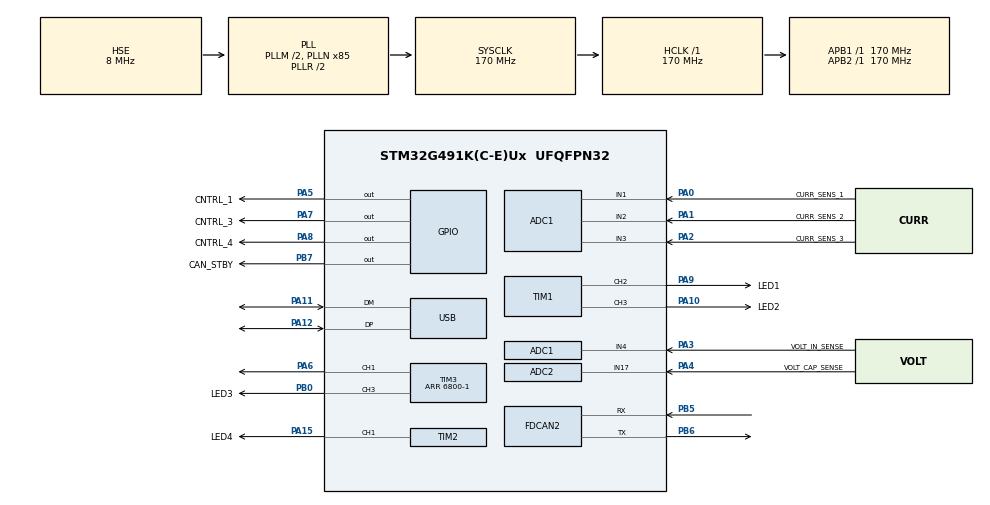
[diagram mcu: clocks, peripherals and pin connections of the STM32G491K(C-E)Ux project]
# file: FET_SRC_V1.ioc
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ADC1.Channel-0\#ChannelRegularConversion=ADC_CHANNEL_1
ADC1.Channel-1\#ChannelRegularConversion=ADC_CHANNEL_2
ADC1.Channel-2\#ChannelRegularConversion=ADC_CHANNEL_3
ADC1.Channel-3\#ChannelRegularConversion=ADC_CHANNEL_4
ADC1.ContinuousConvMode=ENABLE
ADC1.DMAContinuousRequests=ENABLE
ADC1.EOCSelection=ADC_EOC_SEQ_CONV
ADC1.Mode=ADC_MODE_INDEPENDENT
ADC1.NbrOfConversion=4
ADC1.NbrOfConversionFlag=1
ADC1.OffsetNumber-0\#ChannelRegularConversion=ADC_OFFSET_NONE
ADC1.OffsetNumber-1\#ChannelRegularConversion=ADC_OFFSET_NONE
ADC1.OffsetNumber-2\#ChannelRegularConversion=ADC_OFFSET_NONE
ADC1.OffsetNumber-3\#ChannelRegularConversion=ADC_OFFSET_NONE
ADC1.OversamplingMode=DISABLE
ADC1.Rank-0\#ChannelRegularConversion=1
ADC1.Rank-1\#ChannelRegularConversion=2
ADC1.Rank-2\#ChannelRegularConversion=3
ADC1.Rank-3\#ChannelRegularConversion=4
ADC1.SamplingTime-0\#ChannelRegularConversion=ADC_SAMPLETIME_24CYCLES_5
ADC1.SamplingTime-1\#ChannelRegularConversion=ADC_SAMPLETIME_24CYCLES_5
ADC1.SamplingTime-2\#ChannelRegularConversion=ADC_SAMPLETIME_24CYCLES_5
ADC1.SamplingTime-3\#ChannelRegularConversion=ADC_SAMPLETIME_24CYCLES_5
ADC1.master=1
ADC2.Channel-0\#ChannelRegularConversion=ADC_CHANNEL_17
ADC2.ClockPrescaler=ADC_CLOCK_SYNC_PCLK_DIV4
ADC2.ContinuousConvMode=ENABLE
ADC2.DMAContinuousRequests=ENABLE
ADC2.NbrOfConversionFlag=1
ADC2.OffsetNumber-0\#ChannelRegularConversion=ADC_OFFSET_NONE
ADC2.Rank-0\#ChannelRegularConversion=1
ADC2.SamplingTime-0\#ChannelRegularConversion=ADC_SAMPLETIME_24CYCLES_5
Dma.ADC1.0.Direction=DMA_PERIPH_TO_MEMORY
Dma.ADC1.0.EventEnable=DISABLE
Dma.ADC1.0.Instance=DMA1_Channel1
Dma.ADC1.0.MemDataAlignment=DMA_MDATAALIGN_WORD
Dma.ADC1.0.MemInc=DMA_MINC_ENABLE
Dma.ADC1.0.Mode=DMA_CIRCULAR
Dma.ADC1.0.PeriphDataAlignment=DMA_PDATAALIGN_HALFWORD
Dma.ADC1.0.PeriphInc=DMA_PINC_DISABLE
Dma.ADC1.0.Polarity=HAL_DMAMUX_REQ_GEN_RISING
Dma.ADC1.0.Priority=DMA_PRIORITY_LOW
Dma.ADC1.0.RequestNumber=1
Dma.ADC1.0.SignalID=NONE
Dma.ADC1.0.SyncEnable=DISABLE
Dma.ADC1.0.SyncPolarity=HAL_DMAMUX_SYNC_NO_EVENT
Dma.ADC1.0.SyncRequestNumber=1
Dma.ADC1.0.SyncSignalID=NONE
Dma.ADC2.1.Direction=DMA_PERIPH_TO_MEMORY
Dma.ADC2.1.EventEnable=DISABLE
Dma.ADC2.1.Instance=DMA1_Channel2
Dma.ADC2.1.MemDataAlignment=DMA_MDATAALIGN_WORD
Dma.ADC2.1.MemInc=DMA_MINC_ENABLE
Dma.ADC2.1.Mode=DMA_CIRCULAR
Dma.ADC2.1.PeriphDataAlignment=DMA_PDATAALIGN_HALFWORD
Dma.ADC2.1.PeriphInc=DMA_PINC_DISABLE
Dma.ADC2.1.Polarity=HAL_DMAMUX_REQ_GEN_RISING
Dma.ADC2.1.Priority=DMA_PRIORITY_LOW
Dma.ADC2.1.RequestNumber=1
Dma.ADC2.1.SignalID=NONE
Dma.ADC2.1.SyncEnable=DISABLE
Dma.ADC2.1.SyncPolarity=HAL_DMAMUX_SYNC_NO_EVENT
Dma.ADC2.1.SyncRequestNumber=1
Dma.ADC2.1.SyncSignalID=NONE
Dma.Request0=ADC1
Dma.Request1=ADC2
FDCAN2.AutoRetransmission=DISABLE
FDCAN2.CalculateBaudRateNominal=1000000
FDCAN2.CalculateTimeBitNominal=1000
FDCAN2.CalculateTimeQuantumNominal=125.0
FDCAN2.DataPrescaler=1
FDCAN2.DataSyncJumpWidth=1
FDCAN2.DataTimeSeg1=1
FDCAN2.DataTimeSeg2=2
FDCAN2.FrameFormat=FDCAN_FRAME_FD_BRS
FDCAN2.Mode=FDCAN_MODE_NORMAL
FDCAN2.NominalPrescaler=1
FDCAN2.NominalSyncJumpWidth=2
FDCAN2.NominalTimeSeg1=5
FDCAN2.NominalTimeSeg2=2
FDCAN2.StdFiltersNbr=1
FREERTOS.BinarySemaphores01=canSemaphore,Static,canSemaphoreControlBlock,Depleted
FREERTOS.Queues01=canQueRxHeader,512,uint32_t,0,Static,canReceiveQueBuffer,canReceiveQueControlBlock;canQueRxData,512,uint8_t,0,Static,canQueRxDataBuffer,canQueRxDataControlBlock;usbQueReceive,512,char,0,Static,usbQueReceiveBuffer,usbQueReceiveControlBlock;usbQueSend,512,char,0,Static,usbQueSendBuffer,usbQueSendControlBlock
FREERTOS.Tasks01=defaultTask,24,512,StartDefaultTask,Default,NULL,Static,defaultTaskBuffer,defaultTaskControlBlock;canReceiveMsg,25,512,StartCanReceive,Default,NULL,Static,CanReceiveMsgBuffer,CanReceiveMsgControlBlock;canSendMsg,26,512,StartCanSend,Default,NULL,Static,CanSendMsgBuffer,CanSendMsgControlBlock;adcConvTask,27,512,StartAdcConv,Default,NULL,Static,adcConvTaskBuffer,adcConvTaskControlBlock;blinkyLed,28,512,StartBlinky,Default,NULL,Static,blinkyLedBuffer,blinkyLedControlBlock;usbReceive,33,512,StartUsbReceive,As external,NULL,Static,usbReceiveBuffer,usbReceiveControlBlock
FREERTOS.configENABLE_FPU=1
FREERTOS.configUSE_NEWLIB_REENTRANT=1
FREERTOS.copyHeapFile=1
Mcu.Family=STM32G4
Mcu.Name=STM32G491K(C-E)Ux
Mcu.Package=UFQFPN32
NVIC.FDCAN2_IT0_IRQn=true\:5\:0\:false\:false\:true\:true\:true\:true\:true
NVIC.FDCAN2_IT1_IRQn=true\:5\:0\:false\:false\:true\:true\:true\:true\:true
NVIC.PriorityGroup=NVIC_PRIORITYGROUP_4
NVIC.TIM20_UP_IRQn=true\:15\:0\:false\:false\:true\:false\:false\:true\:true
NVIC.TimeBase=TIM20_UP_IRQn
NVIC.TimeBaseIP=TIM20
NVIC.USB_HP_IRQn=true\:5\:0\:false\:false\:true\:true\:true\:true\:true
NVIC.USB_LP_IRQn=true\:5\:0\:false\:false\:true\:true\:true\:true\:true
PA0.GPIO_Label=CURR_SENS_1
PA0.Mode=IN1-Single-Ended
PA0.Signal=ADC1_IN1
PA1.GPIO_Label=CURR_SENS_2
PA1.Mode=IN2-Single-Ended
PA1.Signal=ADC1_IN2
PA10.GPIO_Label=LED2
PA10.Signal=S_TIM1_CH3
PA11.Mode=Device
PA11.Signal=USB_DM
PA12.Mode=Device
PA12.Signal=USB_DP
PA13.Mode=Serial_Wire
PA13.Signal=SYS_JTMS-SWDIO
PA14.Mode=Serial_Wire
PA14.Signal=SYS_JTCK-SWCLK
PA15.GPIO_Label=LED4
PA15.Signal=S_TIM2_CH1
PA2.GPIO_Label=CURR_SENS_3
PA2.Mode=IN3-Single-Ended
PA2.Signal=ADC1_IN3
PA3.GPIO_Label=VOLT_IN_SENSE
PA3.Mode=IN4-Single-Ended
PA3.Signal=ADC1_IN4
PA4.GPIO_Label=VOLT_CAP_SENSE
PA4.Mode=IN17-Single-Ended
PA4.Signal=ADC2_IN17
PA5.GPIO_Label=CNTRL_1
PA5.Signal=GPIO_Output
PA6.Signal=S_TIM3_CH1
PA7.GPIO_Label=CNTRL_3
PA7.Signal=GPIO_Output
PA8.GPIO_Label=CNTRL_4
PA8.Signal=GPIO_Output
PA9.GPIO_Label=LED1
PA9.Signal=S_TIM1_CH2
PB0.GPIO_Label=LED3
PB0.Signal=S_TIM3_CH3
PB5.GPIO_Mode=GPIO_MODE_AF_PP
PB5.GPIO_PuPd=GPIO_PULLUP
PB5.GPIO_Speed=GPIO_SPEED_FREQ_LOW
PB5.Mode=FDCAN_Activate
PB5.Signal=FDCAN2_RX
PB6.GPIO_FM6=__NULL
PB6.GPIO_Mode=GPIO_MODE_AF_PP
PB6.GPIO_PuPd=GPIO_NOPULL
PB6.GPIO_Speed=GPIO_SPEED_FREQ_LOW
PB6.Mode=FDCAN_Activate
PB6.Signal=FDCAN2_TX
PB7.GPIO_Label=CAN_STBY
PB7.Signal=GPIO_Output
PF0-OSC_IN.Mode=HSE-External-Clock-Source
PF0-OSC_IN.Signal=RCC_OSC_IN
ProjectManager.HeapSize=0x400
ProjectManager.StackSize=0x800
ProjectManager.TargetToolchain=CMake
RCC.ADC12Freq_Value=170000000
RCC.ADC345Freq_Value=170000000
RCC.AHBFreq_Value=170000000
RCC.APB1Freq_Value=170000000
RCC.APB1TimFreq_Value=170000000
RCC.APB2Freq_Value=170000000
RCC.APB2TimFreq_Value=170000000
RCC.CortexFreq_Value=170000000
RCC.EXTERNAL_CLOCK_VALUE=12288000
RCC.FDCANCLockSelection=RCC_FDCANCLKSOURCE_HSE
RCC.HCLKFreq_Value=170000000
RCC.HSE_VALUE=8000000
RCC.HSI48_VALUE=48000000
RCC.HSI_VALUE=16000000
RCC.LSE_VALUE=32768
RCC.PLLM=RCC_PLLM_DIV2
RCC.PLLN=85
RCC.PLLQ=RCC_PLLQ_DIV4
RCC.PLLSourceVirtual=RCC_PLLSOURCE_HSE
RCC.SYSCLKFreq_VALUE=170000000
RCC.SYSCLKSource=RCC_SYSCLKSOURCE_PLLCLK
RCC.USBFreq_Value=48000000
RCC.VCOOutputFreq_Value=340000000
SH.S_TIM1_CH2.0=TIM1_CH2,PWM Generation2 CH2
SH.S_TIM1_CH3.0=TIM1_CH3,PWM Generation3 CH3
SH.S_TIM2_CH1.0=TIM2_CH1,PWM Generation1 CH1
SH.S_TIM3_CH1.0=TIM3_CH1,PWM Generation1 CH1
SH.S_TIM3_CH3.0=TIM3_CH3,PWM Generation3 CH3
TIM1.AutoReloadPreload=TIM_AUTORELOAD_PRELOAD_ENABLE
TIM1.Channel-PWM\ Generation2\ CH2=TIM_CHANNEL_2
TIM1.Channel-PWM\ Generation3\ CH3=TIM_CHANNEL_3
TIM2.AutoReloadPreload=TIM_AUTORELOAD_PRELOAD_ENABLE
TIM2.Channel-PWM\ Generation1\ CH1=TIM_CHANNEL_1
TIM2.PeriodNoDither=65535
TIM3.AutoReloadPreload=TIM_AUTORELOAD_PRELOAD_ENABLE
TIM3.Channel-PWM\ Generation1\ CH1=TIM_CHANNEL_1
TIM3.Channel-PWM\ Generation3\ CH3=TIM_CHANNEL_3
TIM3.PeriodNoDither=6800-1
USB_DEVICE.CLASS_NAME_FS=CDC
USB_DEVICE.VirtualMode=Cdc
USB_DEVICE.VirtualModeFS=Cdc_FS
VP_FREERTOS_VS_CMSIS_V2.Mode=CMSIS_V2
VP_SYS_VS_DBSignals.Mode=DisableDeadBatterySignals
VP_SYS_VS_tim20.Mode=TIM20
VP_TIM1_VS_ClockSourceINT.Mode=Internal
VP_TIM2_VS_ClockSourceINT.Mode=Internal
VP_TIM3_VS_ClockSourceINT.Mode=Internal
VP_USB_DEVICE_VS_USB_DEVICE_CDC_FS.Mode=CDC_FS
board=custom

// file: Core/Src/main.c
/* USER CODE BEGIN Header */
/**
  ******************************************************************************
  * @file           : main.c
  * @brief          : Main program body
  ******************************************************************************
  * @attention
  *
  * Copyright (c) 2024 STMicroelectronics.
  * All rights reserved.
  *
  * This software is licensed under terms that can be found in the LICENSE file
  * in the root directory of this software component.
  * If no LICENSE file comes with this software, it is provided AS-IS.
  *
  ******************************************************************************
  */
/* USER CODE END Header */
#include "main.h"
#include "cmsis_os.h"
#include "adc.h"
#include "dma.h"
#include "fdcan.h"
#include "tim.h"
#include "usb_device.h"
#include "gpio.h"

void SystemClock_Config(void);
void MX_FREERTOS_Init(void);

int main(void)
{

  /* MCU Configuration--------------------------------------------------------*/

  /* Reset of all peripherals, Initializes the Flash interface and the Systick. */
  HAL_Init();

  /* Configure the system clock */
  SystemClock_Config();

  /* Initialize all configured peripherals */
  MX_GPIO_Init();
  MX_DMA_Init();
  MX_FDCAN2_Init();
  MX_ADC1_Init();
  MX_ADC2_Init();
  MX_TIM1_Init();
  MX_TIM3_Init();
  MX_TIM2_Init();

  /* Init scheduler */
  osKernelInitialize();

  /* Call init function for freertos objects (in cmsis_os2.c) */
  MX_FREERTOS_Init();

  /* Start scheduler */
  osKernelStart();

  /* We should never get here as control is now taken by the scheduler */

  /* Infinite loop */
  while (1)
  {

  }
}

void SystemClock_Config(void)
{
  RCC_OscInitTypeDef RCC_OscInitStruct = {0};
  RCC_ClkInitTypeDef RCC_ClkInitStruct = {0};

  /** Configure the main internal regulator output voltage
  */
  HAL_PWREx_ControlVoltageScaling(PWR_REGULATOR_VOLTAGE_SCALE1_BOOST);

  /** Initializes the RCC Oscillators according to the specified parameters
  * in the RCC_OscInitTypeDef structure.
  */
  RCC_OscInitStruct.OscillatorType = RCC_OSCILLATORTYPE_HSI48|RCC_OSCILLATORTYPE_HSE;
  RCC_OscInitStruct.HSEState = RCC_HSE_BYPASS;
  RCC_OscInitStruct.HSI48State = RCC_HSI48_ON;
  RCC_OscInitStruct.PLL.PLLState = RCC_PLL_ON;
  RCC_OscInitStruct.PLL.PLLSource = RCC_PLLSOURCE_HSE;
  RCC_OscInitStruct.PLL.PLLM = RCC_PLLM_DIV2;
  RCC_OscInitStruct.PLL.PLLN = 85;
  RCC_OscInitStruct.PLL.PLLP = RCC_PLLP_DIV2;
  RCC_OscInitStruct.PLL.PLLQ = RCC_PLLQ_DIV4;
  RCC_OscInitStruct.PLL.PLLR = RCC_PLLR_DIV2;
  if (HAL_RCC_OscConfig(&RCC_OscInitStruct) != HAL_OK)
  {
    Error_Handler();
  }

  /** Initializes the CPU, AHB and APB buses clocks
  */
  RCC_ClkInitStruct.ClockType = RCC_CLOCKTYPE_HCLK|RCC_CLOCKTYPE_SYSCLK
                              |RCC_CLOCKTYPE_PCLK1|RCC_CLOCKTYPE_PCLK2;
  RCC_ClkInitStruct.SYSCLKSource = RCC_SYSCLKSOURCE_PLLCLK;
  RCC_ClkInitStruct.AHBCLKDivider = RCC_SYSCLK_DIV1;
  RCC_ClkInitStruct.APB1CLKDivider = RCC_HCLK_DIV1;
  RCC_ClkInitStruct.APB2CLKDivider = RCC_HCLK_DIV1;

  if (HAL_RCC_ClockConfig(&RCC_ClkInitStruct, FLASH_LATENCY_4) != HAL_OK)
  {
    Error_Handler();
  }
}

void HAL_TIM_PeriodElapsedCallback(TIM_HandleTypeDef *htim)
{
  if (htim->Instance == TIM20) {
    HAL_IncTick();
  }
}

void Error_Handler(void)
{
  /* USER CODE BEGIN Error_Handler_Debug */
  /* User can add his own implementation to report the HAL error return state */
  __disable_irq();
  while (1)
  {
    // hang in this while loop
  }
  /* USER CODE END Error_Handler_Debug */
}

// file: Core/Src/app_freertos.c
/* USER CODE BEGIN Header */
/**
 ******************************************************************************
 * File Name          : app_freertos.c
 * Description        : Code for freertos applications
 ******************************************************************************
 * @attention
 *
 * Copyright (c) 2024 STMicroelectronics.
 * All rights reserved.
 *
 * This software is licensed under terms that can be found in the LICENSE file
 * in the root directory of this software component.
 * If no LICENSE file comes with this software, it is provided AS-IS.
 *
 ******************************************************************************
 */
/* USER CODE END Header */

#include "FreeRTOS.h"
#include "task.h"
#include "main.h"
#include "cmsis_os.h"

/* USER CODE BEGIN Includes */
#include "adc.h"
#include "debug-log.h"
#include "ecocar_can.h"
#include "exported_typedef.h"
#include "fdcan.h"
#include "stm32g4xx_hal_def.h"
#include "stm32g4xx_hal_fdcan.h"
#include "tim.h"
#include "usb_device.h"
#include "usbd_cdc_if.h"
#include <stdbool.h>
#include <stdint.h>
#include <string.h>
/* USER CODE END Includes */

typedef StaticTask_t osStaticThreadDef_t;
typedef StaticQueue_t osStaticMessageQDef_t;
typedef StaticSemaphore_t osStaticSemaphoreDef_t;
/* USER CODE BEGIN PTD */
typedef enum {
  STANDBY = 500,
  CHARGING = 100,
  RUNNING = 10,
  ALARM = 1
} ledState_t;

typedef struct {
  float current[3];
  float voltage[2];
} fetData_t;
/* USER CODE END PTD */

/* USER CODE BEGIN PD */
#define FULL_CAP_CHARGE_V 20

/* USER CODE END PD */

/* USER CODE BEGIN PM */
#define SET_BRIGHTNESS(x) (uint32_t)(65535 * x / 100)
#define SET_DUTYCYCLE_TIM3(x) (uint32_t)(65535 * x / 100)
/* USER CODE END PM */

/* USER CODE BEGIN Variables */
ledState_t led_state = STANDBY;
fetState_t fet_state = FET_STBY;
bool lock_state = false;

// Local data
FDCAN_FetPack_t fet_data = {0};

// External boards data
FDCAN_FccPack_t fcc_data = {0};

/* USER CODE END Variables */
/* Definitions for defaultTask */
osThreadId_t defaultTaskHandle;
uint32_t defaultTaskBuffer[ 512 ];
osStaticThreadDef_t defaultTaskControlBlock;
const osThreadAttr_t defaultTask_attributes = {
  .name = "defaultTask",
  .stack_mem = &defaultTaskBuffer[0],
  .stack_size = sizeof(defaultTaskBuffer),
  .cb_mem = &defaultTaskControlBlock,
  .cb_size = sizeof(defaultTaskControlBlock),
  .priority = (osPriority_t) osPriorityNormal,
};
/* Definitions for canReceiveMsg */
osThreadId_t canReceiveMsgHandle;
uint32_t CanReceiveMsgBuffer[ 512 ];
osStaticThreadDef_t CanReceiveMsgControlBlock;
const osThreadAttr_t canReceiveMsg_attributes = {
  .name = "canReceiveMsg",
  .stack_mem = &CanReceiveMsgBuffer[0],
  .stack_size = sizeof(CanReceiveMsgBuffer),
  .cb_mem = &CanReceiveMsgControlBlock,
  .cb_size = sizeof(CanReceiveMsgControlBlock),
  .priority = (osPriority_t) osPriorityNormal1,
};
/* Definitions for canSendMsg */
osThreadId_t canSendMsgHandle;
uint32_t CanSendMsgBuffer[ 512 ];
osStaticThreadDef_t CanSendMsgControlBlock;
const osThreadAttr_t canSendMsg_attributes = {
  .name = "canSendMsg",
  .stack_mem = &CanSendMsgBuffer[0],
  .stack_size = sizeof(CanSendMsgBuffer),
  .cb_mem = &CanSendMsgControlBlock,
  .cb_size = sizeof(CanSendMsgControlBlock),
  .priority = (osPriority_t) osPriorityNormal2,
};
/* Definitions for adcConvTask */
osThreadId_t adcConvTaskHandle;
uint32_t adcConvTaskBuffer[ 512 ];
osStaticThreadDef_t adcConvTaskControlBlock;
const osThreadAttr_t adcConvTask_attributes = {
  .name = "adcConvTask",
  .stack_mem = &adcConvTaskBuffer[0],
  .stack_size = sizeof(adcConvTaskBuffer),
  .cb_mem = &adcConvTaskControlBlock,
  .cb_size = sizeof(adcConvTaskControlBlock),
  .priority = (osPriority_t) osPriorityNormal3,
};
/* Definitions for blinkyLed */
osThreadId_t blinkyLedHandle;
uint32_t blinkyLedBuffer[ 512 ];
osStaticThreadDef_t blinkyLedControlBlock;
const osThreadAttr_t blinkyLed_attributes = {
  .name = "blinkyLed",
  .stack_mem = &blinkyLedBuffer[0],
  .stack_size = sizeof(blinkyLedBuffer),
  .cb_mem = &blinkyLedControlBlock,
  .cb_size = sizeof(blinkyLedControlBlock),
  .priority = (osPriority_t) osPriorityNormal4,
};
/* Definitions for usbReceive */
osThreadId_t usbReceiveHandle;
uint32_t usbReceiveBuffer[ 1024 ];
osStaticThreadDef_t usbReceiveControlBlock;
const osThreadAttr_t usbReceive_attributes = {
  .name = "usbReceive",
  .stack_mem = &usbReceiveBuffer[0],
  .stack_size = sizeof(usbReceiveBuffer),
  .cb_mem = &usbReceiveControlBlock,
  .cb_size = sizeof(usbReceiveControlBlock),
  .priority = (osPriority_t) osPriorityAboveNormal1,
};
/* Definitions for canQueRxHeader */
osMessageQueueId_t canQueRxHeaderHandle;
uint8_t canReceiveQueBuffer[ 512 * sizeof( uint32_t ) ];
osStaticMessageQDef_t canReceiveQueControlBlock;
const osMessageQueueAttr_t canQueRxHeader_attributes = {
  .name = "canQueRxHeader",
  .cb_mem = &canReceiveQueControlBlock,
  .cb_size = sizeof(canReceiveQueControlBlock),
  .mq_mem = &canReceiveQueBuffer,
  .mq_size = sizeof(canReceiveQueBuffer)
};
/* Definitions for canQueRxData */
osMessageQueueId_t canQueRxDataHandle;
uint8_t canQueRxDataBuffer[ 512 * sizeof( uint8_t ) ];
osStaticMessageQDef_t canQueRxDataControlBlock;
const osMessageQueueAttr_t canQueRxData_attributes = {
  .name = "canQueRxData",
  .cb_mem = &canQueRxDataControlBlock,
  .cb_size = sizeof(canQueRxDataControlBlock),
  .mq_mem = &canQueRxDataBuffer,
  .mq_size = sizeof(canQueRxDataBuffer)
};
/* Definitions for usbQueReceive */
osMessageQueueId_t usbQueReceiveHandle;
uint8_t usbQueReceiveBuffer[ 2048 * sizeof( char ) ];
osStaticMessageQDef_t usbQueReceiveControlBlock;
const osMessageQueueAttr_t usbQueReceive_attributes = {
  .name = "usbQueReceive",
  .cb_mem = &usbQueReceiveControlBlock,
  .cb_size = sizeof(usbQueReceiveControlBlock),
  .mq_mem = &usbQueReceiveBuffer,
  .mq_size = sizeof(usbQueReceiveBuffer)
};
/* Definitions for usbQueSend */
osMessageQueueId_t usbQueSendHandle;
uint8_t usbQueSendBuffer[ 2048 * sizeof( char ) ];
osStaticMessageQDef_t usbQueSendControlBlock;
const osMessageQueueAttr_t usbQueSend_attributes = {
  .name = "usbQueSend",
  .cb_mem = &usbQueSendControlBlock,
  .cb_size = sizeof(usbQueSendControlBlock),
  .mq_mem = &usbQueSendBuffer,
  .mq_size = sizeof(usbQueSendBuffer)
};
/* Definitions for canSemaphore */
osSemaphoreId_t canSemaphoreHandle;
osStaticSemaphoreDef_t canSemaphoreControlBlock;
const osSemaphoreAttr_t canSemaphore_attributes = {
  .name = "canSemaphore",
  .cb_mem = &canSemaphoreControlBlock,
  .cb_size = sizeof(canSemaphoreControlBlock),
};

/* USER CODE BEGIN FunctionPrototypes */
void alarmLEDS(void);
float adcToCurr(uint32_t adc_value);
float adcToVolt(uint32_t adc_value);

void HAL_FDCAN_RxFifo0Callback(FDCAN_HandleTypeDef *hfdcan,
                               uint32_t RxFifo0ITs) {
  FDCAN_RxHeaderTypeDef RxHeader;
  uint8_t RxData[64];
  if ((RxFifo0ITs & FDCAN_IT_RX_FIFO0_NEW_MESSAGE) != RESET) {
    /* Retreive Rx messages from RX FIFO0 */
    if (HAL_FDCAN_GetRxMessage(hfdcan, FDCAN_RX_FIFO0, &RxHeader, RxData) !=
        HAL_OK) {
      /* Reception Error */
      Error_Handler();
    }
    if (HAL_FDCAN_ActivateNotification(hfdcan, FDCAN_IT_RX_FIFO0_NEW_MESSAGE,
                                       0) != HAL_OK) {
      /* Notification Error */
      Error_Handler();
    }
    osMessageQueuePut(canQueRxHeaderHandle, &RxHeader.Identifier, 0, 0);
    osMessageQueuePut(canQueRxHeaderHandle, &RxHeader.DataLength, 0, 0);
    for (uint32_t i = 0; i < mapDlcToBytes(RxHeader.DataLength); i++) {
      osMessageQueuePut(canQueRxDataHandle, &RxData[i], 0, 0);
    }
  }
}
/* USER CODE END FunctionPrototypes */

void StartDefaultTask(void *argument);
void StartCanReceive(void *argument);
void StartCanSend(void *argument);
void StartAdcConv(void *argument);
void StartBlinky(void *argument);
extern void StartUsb(void *argument);

void MX_FREERTOS_Init(void); /* (MISRA C 2004 rule 8.1) */

void MX_FREERTOS_Init(void) {
  /* USER CODE BEGIN Init */

  // Initing these before any threads or interrupts can be called
  HAL_TIM_PWM_Start(&htim1, TIM_CHANNEL_2); // THIRD YELLOW CHANNEL LED1
  HAL_TIM_PWM_Start(&htim1, TIM_CHANNEL_3); // SECOND RED CHANNEL LED2
  HAL_TIM_PWM_Start(&htim2, TIM_CHANNEL_1); // TOP RED CHANNEL LED4
  HAL_TIM_PWM_Start(&htim3, TIM_CHANNEL_3); // BOTTOM GREEN CHANNEL LED3
  HAL_TIM_PWM_Start(&htim3, TIM_CHANNEL_1); // SUPER CAP MOSFET PWM
  /* USER CODE END Init */

  /* Create the semaphores(s) */
  /* creation of canSemaphore */
  canSemaphoreHandle = osSemaphoreNew(1, 0, &canSemaphore_attributes);

  /* Create the queue(s) */
  /* creation of canQueRxHeader */
  canQueRxHeaderHandle = osMessageQueueNew (512, sizeof(uint32_t), &canQueRxHeader_attributes);

  /* creation of canQueRxData */
  canQueRxDataHandle = osMessageQueueNew (512, sizeof(uint8_t), &canQueRxData_attributes);

  /* creation of usbQueReceive */
  usbQueReceiveHandle = osMessageQueueNew (512, sizeof(char), &usbQueReceive_attributes);

  /* creation of usbQueSend */
  usbQueSendHandle = osMessageQueueNew (512, sizeof(char), &usbQueSend_attributes);

  /* Create the thread(s) */
  /* creation of defaultTask */
  defaultTaskHandle = osThreadNew(StartDefaultTask, NULL, &defaultTask_attributes);

  /* creation of canReceiveMsg */
  canReceiveMsgHandle = osThreadNew(StartCanReceive, NULL, &canReceiveMsg_attributes);

  /* creation of canSendMsg */
  canSendMsgHandle = osThreadNew(StartCanSend, NULL, &canSendMsg_attributes);

  /* creation of adcConvTask */
  adcConvTaskHandle = osThreadNew(StartAdcConv, NULL, &adcConvTask_attributes);

  /* creation of blinkyLed */
  blinkyLedHandle = osThreadNew(StartBlinky, NULL, &blinkyLed_attributes);

  /* creation of usbReceive */
  usbReceiveHandle = osThreadNew(StartUsb, NULL, &usbReceive_attributes);

}

void StartDefaultTask(void *argument)
{
  /* init code for USB_Device */
  MX_USB_Device_Init();
  /* USER CODE BEGIN StartDefaultTask */
  UNUSED(argument);

  /* Infinite loop */
  for (;;) {
    if (lock_state == true) {
      HAL_GPIO_WritePin(GPIOA,
                        CNTRL_1_Pin | CNTRL_3_Pin | CNTRL_4_Pin,
                        GPIO_PIN_RESET);
      led_state = ALARM;
    } else {
      switch (fet_state) {
      case FET_STBY:
        // All pins should be in off state. Capacitors discharge through
        // resistor by default.
        HAL_GPIO_WritePin(GPIOA,
                          CNTRL_1_Pin | CNTRL_3_Pin | CNTRL_4_Pin,
                          GPIO_PIN_RESET);
        led_state = STANDBY;
        htim3.Instance->CCR1 = SET_DUTYCYCLE_TIM3(50);
        fet_data.fet_config = FET_STBY;
        break;
      case FET_CHRGE:
        // Allow fuel cell power through to main bus, into caps, and shut off
        // resistor
        HAL_GPIO_WritePin(GPIOA, CNTRL_1_Pin | CNTRL_3_Pin,
                          GPIO_PIN_SET);
        HAL_GPIO_WritePin(GPIOA, CNTRL_4_Pin, GPIO_PIN_RESET);

        led_state = CHARGING;
        fet_data.fet_config = FET_CHRGE;

        // if CAPACITOR VOL > some value -> go to RUN
        if ((fet_data.cap_volt / FDCAN_FOUR_FLT_PREC) >= FULL_CAP_CHARGE_V) {
          fet_state = FET_RUN;
        }
        break;
      case FET_RUN:
        HAL_GPIO_WritePin(GPIOA,
                          CNTRL_1_Pin | CNTRL_3_Pin | CNTRL_4_Pin,
                          GPIO_PIN_SET);
        led_state = RUNNING;
        fet_data.fet_config = FET_RUN;
        break;
      }
    }
    osDelay(1);
  }
  /* USER CODE END StartDefaultTask */
}

void StartCanReceive(void *argument)
{
  /* USER CODE BEGIN StartCanReceive */
  /**
   * THIS SECTION OF CODE UTILIZES A HIGHER PRIORITY SO NO BLOCKING
   * IS ALLOWED TO BE USED OTHER THAN THE SEMAPHORE
   */
  UNUSED(argument);
  FDCAN_RxHeaderTypeDef localRxHeader = {0};
  uint8_t ret[64] = {0};
  /* Infinite loop */
  for (;;) {
    if (osMessageQueueGet(canQueRxHeaderHandle, &localRxHeader.Identifier, 0,
                          osWaitForever) == osOK) {
      if (osMessageQueueGet(canQueRxHeaderHandle, &localRxHeader.DataLength, 0,
                            0) != osOK) {
        Error_Handler();
      }
      for (uint8_t i = 0; i < mapDlcToBytes(localRxHeader.DataLength); i++) {
        if (osMessageQueueGet(canQueRxDataHandle, &ret[i], 0, 0) != osOK) {
          Error_Handler();
        }
      }
      switch (localRxHeader.Identifier) {
      case FDCAN_H2ALARM_ID:
        // H2 ALARM
        if (ret[0] == 1) {
          lock_state = true;
          log_info("H2 Alarm received!");
        }
        break;
      case FDCAN_SYNCLED_ID:
        // CAN SYNC LED
        if (ret[0] == 1) {
          htim2.Instance->CCR1 = SET_BRIGHTNESS(20);
        } else {
          htim2.Instance->CCR1 = SET_BRIGHTNESS(0);
        }
        break;
      case FDCAN_FCCPACK_ID:
        memcpy(&fcc_data, ret, mapDlcToBytes(localRxHeader.DataLength));
        break;
      case FDCAN_UPDATESTATE_ID:
        fet_state = ret[0];
        log_info("FDCAN_UPDATESTATE_ID Received: 0x%x", fet_state);
      default:
        break;
      }
    }
  }
  osDelay(1);
  /* USER CODE END StartCanReceive */
}

void StartCanSend(void *argument)
{
  /* USER CODE BEGIN StartCanSend */
  UNUSED(argument);
  FDCAN_TxHeaderTypeDef localTxHeader;
  const uint8_t msg_delay = 10;
  uint8_t can_sync_led = 0;
  uint32_t sync_led_last = 0;
  uint32_t sync_led_this = osKernelGetSysTimerCount();

  localTxHeader.IdType = FDCAN_STANDARD_ID;
  localTxHeader.TxFrameType = FDCAN_DATA_FRAME;
  localTxHeader.ErrorStateIndicator = FDCAN_ESI_ACTIVE;
  localTxHeader.BitRateSwitch = FDCAN_BRS_ON;
  localTxHeader.FDFormat = FDCAN_FD_CAN;
  localTxHeader.TxEventFifoControl = FDCAN_NO_TX_EVENTS;
  localTxHeader.MessageMarker = 0;
  /* Infinite loop */
  for (;;) {
    // Sync LEDs
    sync_led_this = osKernelGetTickCount();
    if (sync_led_this - sync_led_last > 500) {
      sync_led_last = sync_led_this;
      localTxHeader.Identifier = FDCAN_SYNCLED_ID;
      localTxHeader.DataLength = FDCAN_DLC_BYTES_1;
      can_sync_led = (can_sync_led == 0) ? 1 : 0;
      if (HAL_FDCAN_GetTxFifoFreeLevel(&hfdcan2) != 0) {
        if (HAL_FDCAN_AddMessageToTxFifoQ(&hfdcan2, &localTxHeader,
                                          &can_sync_led) != HAL_OK) {
          Error_Handler();
        }
        if (can_sync_led == 1) {
          htim2.Instance->CCR1 = SET_BRIGHTNESS(20);
        } else {
          htim2.Instance->CCR1 = SET_BRIGHTNESS(0);
        }

      } else {
        log_warn("Tx Buffer Full");
      }
    }

    // Transmit data
    localTxHeader.Identifier = FDCAN_FETPACK_ID;
    localTxHeader.DataLength = FDCAN_DLC_BYTES_24;
    if (HAL_FDCAN_GetTxFifoFreeLevel(&hfdcan2) != 0) {
      if (HAL_FDCAN_AddMessageToTxFifoQ(
              &hfdcan2, &localTxHeader,
              (uint8_t *)&fet_data.FDCAN_RawFetPack) != HAL_OK) {
        Error_Handler();
      }
    } else {
      log_warn("Tx Buffer Full");
    }
    osDelay(msg_delay);
  }
  /* USER CODE END StartCanSend */
}

void StartAdcConv(void *argument)
{
  /* USER CODE BEGIN StartAdcConv */
  UNUSED(argument);
  uint32_t ADC1_Conversion[4]; // four channels on ADC1
  uint32_t ADC2_Conversion;    // one channel on ADC2
  HAL_ADC_Start_DMA(&hadc1, ADC1_Conversion, 4);
  HAL_ADC_Start_DMA(&hadc2, &ADC2_Conversion, 1);

#define PRINT_FLOAT(x) (float)x / FDCAN_FOUR_FLT_PREC

  uint32_t this_print, last_print = 0;
  /* Infinite loop */
  for (;;) {
    fet_data.cap_curr =
        (uint32_t) (adcToCurr(ADC1_Conversion[0]) * FDCAN_FOUR_FLT_PREC);
    fet_data.res_curr =
        (uint32_t) (adcToCurr(ADC1_Conversion[1]) * FDCAN_FOUR_FLT_PREC);
    fet_data.out_curr =
        (uint32_t) (adcToCurr(ADC1_Conversion[2]) * FDCAN_FOUR_FLT_PREC);
    fet_data.input_volt =
        (uint32_t) (adcToVolt(ADC1_Conversion[3]) * FDCAN_FOUR_FLT_PREC);
    fet_data.cap_volt =
        (uint32_t) (adcToVolt(ADC2_Conversion) * FDCAN_FOUR_FLT_PREC);

    this_print = osKernelGetTickCount();
    if (this_print - last_print >= 1000) {
      last_print = this_print;
      log_info("Cap Curr: %fA\tRes Curr: %fA\tOut Curr: %fA\tFC Volt: %fV\tCap "
               "Volt: %fV\t",
               PRINT_FLOAT(fet_data.cap_curr), PRINT_FLOAT(fet_data.res_curr),
               PRINT_FLOAT(fet_data.out_curr), PRINT_FLOAT(fet_data.input_volt),
               PRINT_FLOAT(fet_data.cap_volt));
    }

    osDelay(10);
  }
  /* USER CODE END StartAdcConv */
}

void StartBlinky(void *argument)
{
  /* USER CODE BEGIN StartBlinky */
  UNUSED(argument);
  /* Infinite loop */
  for (;;) {
    if (led_state != ALARM) {
      htim3.Instance->CCR3 = SET_DUTYCYCLE_TIM3(50);
      htim1.Instance->CCR3 = SET_BRIGHTNESS(20);
      osDelay(led_state);
      /*htim3.Instance->CCR3 = SET_BRIGHTNESS(0);*/
      /*osDelay(led_state);*/
    } else {
      alarmLEDS();
    }
    osDelay(1);
  }
  /* USER CODE END StartBlinky */
}

/* USER CODE BEGIN Application */

void alarmLEDS(void) {
  htim2.Instance->CCR1 = SET_BRIGHTNESS(20);
  osDelay(50);
  htim1.Instance->CCR3 = SET_BRIGHTNESS(20);
  osDelay(50);
  htim1.Instance->CCR2 = SET_BRIGHTNESS(30);
  osDelay(50);
  htim3.Instance->CCR3 = SET_BRIGHTNESS(70);
  osDelay(50);
  htim2.Instance->CCR1 = SET_BRIGHTNESS(0);
  osDelay(50);
  htim1.Instance->CCR3 = SET_BRIGHTNESS(0);
  osDelay(50);
  htim1.Instance->CCR2 = SET_BRIGHTNESS(0);
  osDelay(50);
  htim3.Instance->CCR3 = SET_BRIGHTNESS(0);
  osDelay(50);
}

float adcToVolt(uint32_t value) {
  const float voltAdcConv = (3.278 / 4096) / (1800.0 / (1800 + 15000));
  return value * voltAdcConv + 1.0f;
}

float adcToCurr(uint32_t value) {
  const float voltAdcConv = (3.278 / 4096) / (4700.0 / (4700 + 9100));
  const float currZeroOffset = 0.8;
  const float currSensitivity = 133.0f / 1000; // V/A
  return (value * voltAdcConv - currZeroOffset) / currSensitivity / 1.84f;
}

/* USER CODE END Application */
